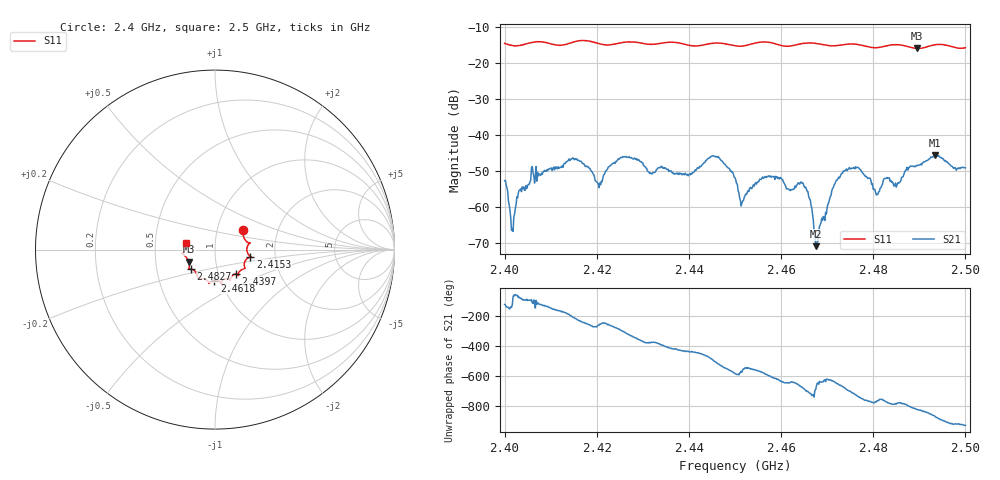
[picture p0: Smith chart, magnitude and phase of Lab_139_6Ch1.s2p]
# Hz S RI R 50
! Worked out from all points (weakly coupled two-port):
!   601 points, 2.4 GHz to 2.5 GHz, reference 50 ohm
!   highest |S21| = -45.57 dB at 2.4933 GHz (marker M1); lowest = -70.8 dB at 2.4675 GHz (marker M2)
!   lowest |S11| = -15.9 dB at 2.4895 GHz (marker M3), VSWR 1.38, Z = 37 - j5.04 ohm
!   |S11| at or under -10 dB: start of sweep to end of sweep
!   S12 and S22 are empty: the file has one direction only
!   S11 on the Smith chart (normalised r, x): 2.4 GHz: 1.33, +0.29; 2.4153 GHz: 1.48, -0.12; 2.4397 GHz: 1.21, -0.34; 2.4618 GHz: 0.94, -0.33; 2.4827 GHz: 0.75, -0.17; 2.5 GHz: 0.72, +0.06
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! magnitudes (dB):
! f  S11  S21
! 2.4 GHz  -14.5  -52.6
! 2.4017 GHz  -15.1  -66.1
! 2.4063 GHz  -14.1  -51.2
! 2.4153 GHz  -14.0  -46.5
! 2.4167 GHz  -13.7  -47.4
! 2.4203 GHz  -14.5  -53.5
! 2.4255 GHz  -14.3  -46.2
! 2.4333 GHz  -14.6  -49.1
! 2.4397 GHz  -14.9  -50.8
! 2.4455 GHz  -14.4  -45.9
! 2.45 GHz  -15.1  -51.8
! 2.4515 GHz  -15.3  -58.9
! 2.4618 GHz  -15.3  -55.2
! 2.4648 GHz  -14.5  -53.5
! 2.4667 GHz  -14.4  -60.3
! 2.4675 GHz  -14.5  -70.8
! 2.4737 GHz  -14.8  -50.0
! 2.4827 GHz  -15.2  -52.0
! 2.4833 GHz  -15.1  -51.9
! 2.4895 GHz  -15.9  -48.4
! 2.4933 GHz  -14.9  -45.6
! 2.5 GHz  -15.7  -49.1
